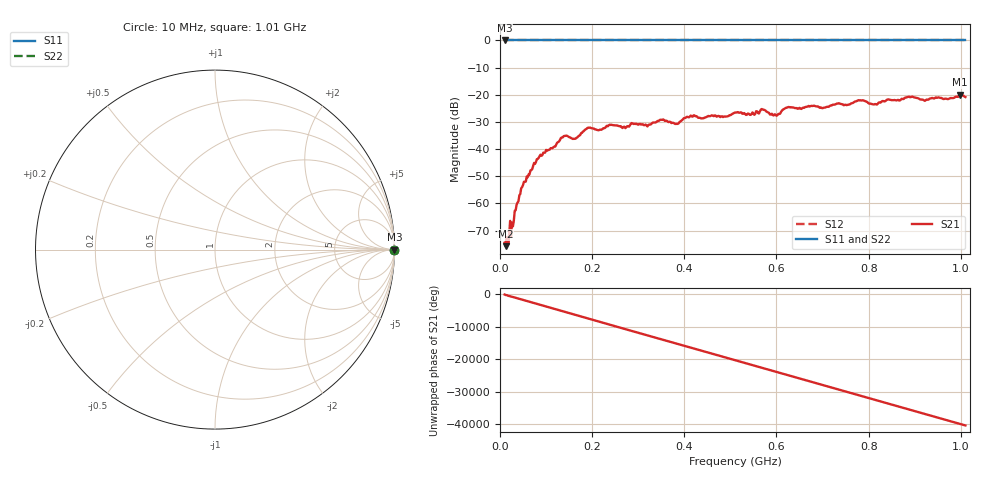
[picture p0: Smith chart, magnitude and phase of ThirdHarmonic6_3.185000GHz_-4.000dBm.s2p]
! 8/17/2025 9:37:39 AM
! C:\ANRITSUVNA\TEMP\TEMP.S2P
! CHANNEL.1
! TR.MEASUREMENT
! RAW.DATA
! RF.CORRECTION.OFF
! AVERAGING.OFF
! IF.BANDWIDTH: 5KHZ
! SWEEPTYPE:  FREQ.SWEEP(Linear)
! Reference Plane Port Info
! PORT:  PORT1  PORT2
! DISTANCE:  0  m  0  m
! TIME:  0  s  0  s
! PHASE.OFFSET:  0  deg.  0  deg.
! LOSS:  0  dB  0  dB
! REF.LOSS:  0  dB  0  dB
! REF.FREQ:  0  Hz  0  Hz
! Power Info
! POWER:  -20  dBm  -20  dBm
! EFF.POWER:  -20  dBm  -20  dBm
! SOURCE.ATTEN:  0  dB  0  dB
! TEST.ATTEN:  0  dB  0  dB
# GHZ S RI R 50.0
! FREQ.GHZ  S11RE  S11IM  S21RE  S21IM  S12RE  S12IM  S22RE  S22IM
!; PortSelection: Port_12
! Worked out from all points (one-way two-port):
!   501 points, 10 MHz to 1.01 GHz, reference 50 ohm
!   highest |S21| = -19.95 dB at 998 MHz (marker M1); lowest = -75.7 dB at 12 MHz (marker M2)
!   lowest |S11| = 0.0 dB at 10 MHz (marker M3)
!   |S11| at or under -10 dB: nowhere
!   |S22| runs from 0.0 to 0.0 dB; largest |S21 - S12| = 1.1
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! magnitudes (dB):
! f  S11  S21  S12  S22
! 10 MHz  0.0  -74.5  0.0  0.0
! 12 MHz  0.0  -75.7  0.0  0.0
! 28 MHz  0.0  -68.4  0.0  0.0
! 50 MHz  0.0  -53.2  0.0  0.0
! 84 MHz  0.0  -43.2  0.0  0.0
! 136 MHz  0.0  -35.7  0.0  0.0
! 162 MHz  0.0  -36.2  0.0  0.0
! 178 MHz  0.0  -34.0  0.0  0.0
! 192 MHz  0.0  -32.1  0.0  0.0
! 344 MHz  0.0  -29.7  0.0  0.0
! 384 MHz  0.0  -30.7  0.0  0.0
! 418 MHz  0.0  -28.1  0.0  0.0
! 510 MHz  0.0  -26.5  0.0  0.0
! 570 MHz  0.0  -25.4  0.0  0.0
! 598 MHz  0.0  -27.3  0.0  0.0
! 624 MHz  0.0  -24.6  0.0  0.0
! 678 MHz  0.0  -24.1  0.0  0.0
! 782 MHz  0.0  -22.0  0.0  0.0
! 814 MHz  0.0  -23.4  0.0  0.0
! 844 MHz  0.0  -21.7  0.0  0.0
! 998 MHz  0.0  -19.9  0.0  0.0
! 1.01 GHz  0.0  -20.8  0.0  0.0
